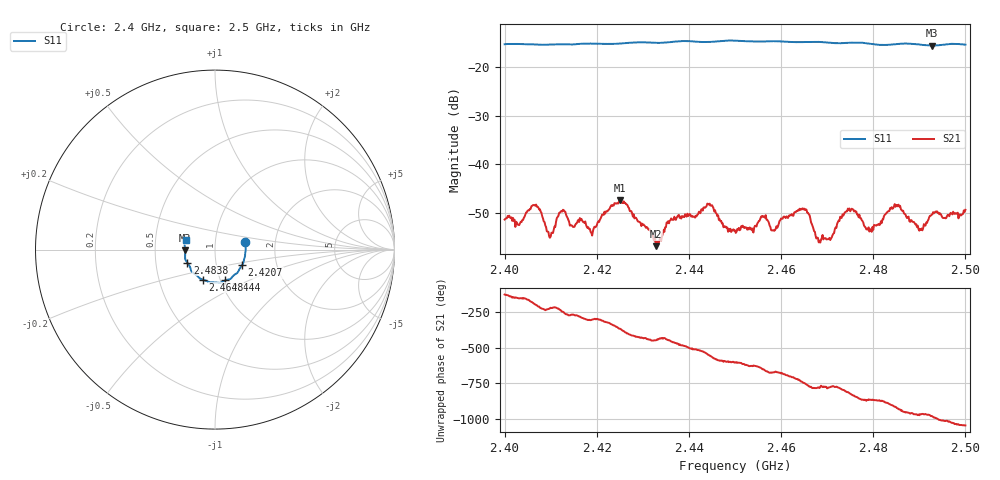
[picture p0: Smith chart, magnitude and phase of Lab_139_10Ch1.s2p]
# Hz S RI R 50
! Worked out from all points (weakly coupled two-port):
!   601 points, 2.4 GHz to 2.5 GHz, reference 50 ohm
!   highest |S21| = -47.38 dB at 2.425 GHz (marker M1); lowest = -56.8 dB at 2.4328 GHz (marker M2)
!   lowest |S11| = -15.6 dB at 2.4928 GHz (marker M3), VSWR 1.40, Z = 35.8 - j0.321 ohm
!   |S11| at or under -10 dB: start of sweep to end of sweep
!   S12 and S22 are empty: the file has one direction only
!   S11 on the Smith chart (normalised r, x): 2.4 GHz: 1.39, +0.12; 2.4207 GHz: 1.33, -0.24; 2.444 GHz: 1.05, -0.37; 2.4648 GHz: 0.83, -0.29; 2.4838 GHz: 0.73, -0.11; 2.5 GHz: 0.72, +0.08
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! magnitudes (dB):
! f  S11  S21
! 2.4 GHz  -15.3  -51.3
! 2.4067 GHz  -15.4  -48.5
! 2.41 GHz  -15.4  -54.8
! 2.4123 GHz  -15.3  -49.5
! 2.4167 GHz  -15.2  -51.2
! 2.4207 GHz  -15.2  -51.4
! 2.425 GHz  -15.2  -47.4
! 2.4328 GHz  -15.0  -56.8
! 2.4333 GHz  -15.0  -56.1
! 2.4357 GHz  -14.9  -52.1
! 2.444 GHz  -14.9  -48.0
! 2.45 GHz  -14.6  -53.5
! 2.4648 GHz  -14.9  -49.2
! 2.4667 GHz  -14.8  -52.3
! 2.4703 GHz  -15.0  -55.3
! 2.4743 GHz  -15.0  -49.6
! 2.4792 GHz  -15.2  -53.8
! 2.4833 GHz  -15.4  -49.6
! 2.4838 GHz  -15.4  -49.1
! 2.4903 GHz  -15.4  -53.4
! 2.4928 GHz  -15.6  -50.3
! 2.5 GHz  -15.4  -49.3
